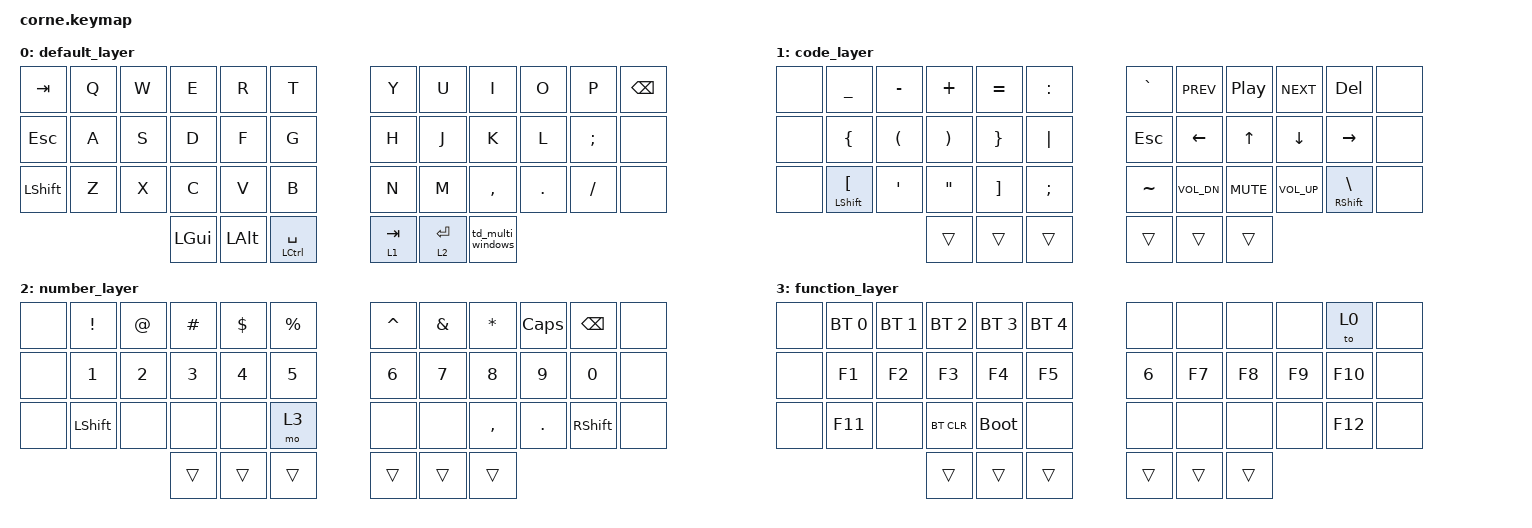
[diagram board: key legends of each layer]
#include <behaviors.dtsi>
#include <dt-bindings/zmk/bt.h>
#include <dt-bindings/zmk/keys.h>

// Layers

#define MAC 4
#define MAC_CODE 5
#define MAC_NUM 6
#define MAC_FUNC 7
#define WIN 0
#define WIN_CODE 1
#define WIN_NUM 2
#define WIN_FUNC 3

// Behavior Overrides

&lt {
    tapping-term-ms = <200>;
    flavor = "hold-preferred";
};

/ {
    //combos {
    //  compatible = "zmk,combos";
    //combo_tab {
    //  timeout-ms = <20>;
    //  key-positions = <1 2>;
    //  bindings = <&kp TAB>;
    //};
    //  combo_enter {
    //    timeout-ms = <20>;
    //  key-positions = <13 14>;
    //bindings = <&kp ENTER>;
    //};
    //};

    macros {
        spotlight: spotlight {
            label = "spotlight";
            compatible = "zmk,behavior-macro";
            #binding-cells = <0>;
            bindings =
                <&macro_press>,
                <&kp LGUI>,
                <&macro_tap>,
                <&kp SPACE>,
                <&macro_release>,
                <&kp LGUI>;
        };

        // Emoji

        mac_emoji: mac_emoji {
            label = "mac_emoji";
            compatible = "zmk,behavior-macro";
            #binding-cells = <0>;
            bindings =
                <&macro_press>,
                <&kp LGUI>,
                <&macro_press>,
                <&kp LCTRL>,
                <&macro_tap>,
                <&kp SPACE>,
                <&macro_release>,
                <&kp LCTRL>,
                <&macro_release>,
                <&kp LGUI>;
        };

        win_emoji: win_emoji {
            label = "win_emoji";
            compatible = "zmk,behavior-macro";
            #binding-cells = <0>;
            bindings =
                <&macro_press>,
                <&kp LGUI>,
                <&macro_tap>,
                <&kp DOT>,
                <&macro_release>,
                <&kp LGUI>;
        };
    };

    behaviors {
        td_multi_mac: tap_dance_multi_mac {
            compatible = "zmk,behavior-tap-dance";
            label = "TAP_DANCE_MULTI_MAC";
            #binding-cells = <0>;
            tapping-term-ms = <200>;
            bindings = <&kp ESC>, <&spotlight>, <&mac_emoji>;
        };

        td_multi_windows: tap_dance_multi_windows {
            compatible = "zmk,behavior-tap-dance";
            label = "TAP_DANCE_MULTI_WINDOWS";
            #binding-cells = <0>;
            tapping-term-ms = <200>;
            bindings = <&kp ESC>, <&kp LGUI>, <&win_emoji>;
        };

        bm: bottom_row_mods {
            compatible = "zmk,behavior-hold-tap";
            label = "BOTTOM_ROW_MODS";
            #binding-cells = <2>;
            tapping-term-ms = <135>;
            quick-tap-ms = <0>;
            flavor = "tap-preferred";
            bindings = <&kp>, <&kp>;
        };

        cm: code_row_mods {
            compatible = "zmk,behavior-hold-tap";
            label = "CODE_ROW_MODS";
            #binding-cells = <2>;
            tapping-term-ms = <200>;
            quick-tap-ms = <0>;
            flavor = "tap-preferred";
            bindings = <&kp>, <&kp>;

            retro-tap;
        };

        sm: space_mod {
            compatible = "zmk,behavior-hold-tap";
            label = "SPACE_MOD";
            #binding-cells = <2>;
            flavor = "balanced";
            tapping-term-ms = <200>;
            quick-tap-ms = <125>;
            bindings = <&kp>, <&kp>;
        };
    };

    keymap {
        compatible = "zmk,keymap";

        default_layer {
            bindings = <
&kp TAB    &kp Q  &kp W  &kp E     &kp R     &kp T              &kp Y      &kp U        &kp I              &kp O    &kp P     &kp BSPC
&kp ESC    &kp A  &kp S  &kp D     &kp F     &kp G              &kp H      &kp J        &kp K              &kp L    &kp SEMI  &none
&kp LSHFT  &kp Z  &kp X  &kp C     &kp V     &kp B              &kp N      &kp M        &kp COMMA          &kp DOT  &kp FSLH  &none
                         &kp LGUI  &kp LALT  &sm LCTRL SPACE    &lt 1 TAB  &lt 2 ENTER  &td_multi_windows
            >;
        };

        code_layer {
            bindings = <
&none  &kp UNDER       &kp MINUS  &kp PLUS  &kp EQUAL  &kp COLON    &kp GRAVE  &kp C_PREV    &kp C_PP    &kp C_NEXT    &kp DEL         &none
&none  &kp LBRC        &kp LPAR   &kp RPAR  &kp RBRC   &kp PIPE     &kp ESC    &kp LEFT      &kp UP      &kp DOWN      &kp RIGHT       &none
&none  &cm LSHFT LBKT  &kp APOS   &kp DQT   &kp RBKT   &kp SEMI     &kp TILDE  &kp C_VOL_DN  &kp C_MUTE  &kp C_VOL_UP  &cm RSHFT BSLH  &none
                                  &trans    &trans     &trans       &trans     &trans        &trans
            >;
        };

        number_layer {
            bindings = <
&none  &kp EXCL   &kp AT  &kp HASH  &kp DLLR  &kp PRCNT    &kp CARET  &kp AMPS  &kp ASTERISK  &kp CAPS  &kp BSPC   &none
&none  &kp N1     &kp N2  &kp N3    &kp N4    &kp N5       &kp N6     &kp N7    &kp N8        &kp N9    &kp N0     &none
&none  &kp LSHFT  &none   &none     &none     &mo 3        &none      &none     &kp COMMA     &kp DOT   &kp RSHFT  &none
                          &trans    &trans    &trans       &trans     &trans    &trans
            >;
        };

        function_layer {
            bindings = <
&none  &bt BT_SEL 0  &bt BT_SEL 1  &bt BT_SEL 2  &bt BT_SEL 3  &bt BT_SEL 4    &none   &none   &none   &none   &to 0    &none
&none  &kp F1        &kp F2        &kp F3        &kp F4        &kp F5          &kp 6   &kp F7  &kp F8  &kp F9  &kp F10  &none
&none  &kp F11       &none         &bt BT_CLR    &bootloader   &none           &none   &none   &none   &none   &kp F12  &none
                                   &trans        &trans        &trans          &trans  &trans  &trans
            >;
        };
    };
};
